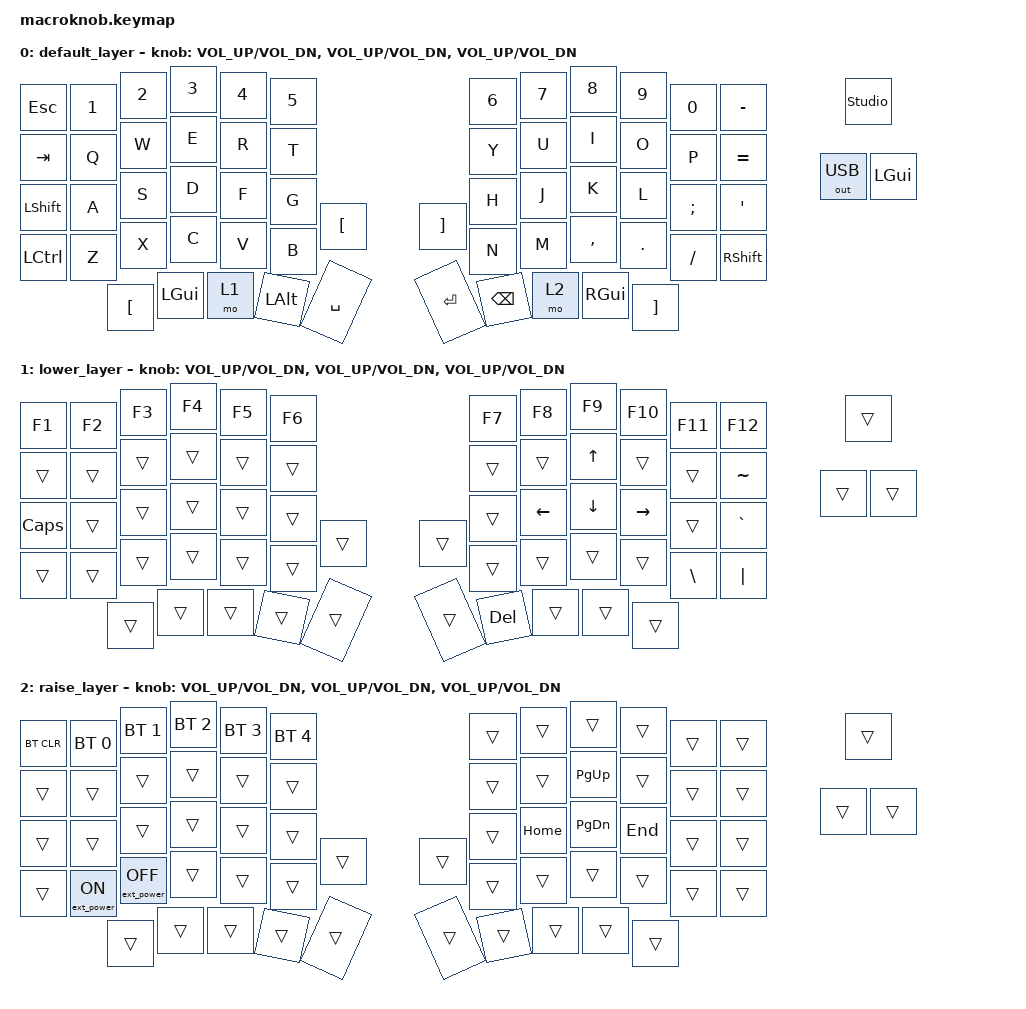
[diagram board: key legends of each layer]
/*
 * Copyright (c) 2022 The ZMK Contributors
 *
 * SPDX-License-Identifier: MIT
 */

//** Add any includes that are in your existing keyboard's keymap here that are missing
#include <behaviors.dtsi>
#include <dt-bindings/zmk/keys.h>
#include <dt-bindings/zmk/bt.h>
#include <dt-bindings/zmk/ext_power.h>
#include <dt-bindings/zmk/outputs.h>

                // |     Knob     |
                // | Left | Right |

// ============================================================
// STEP 4 applied — Aurora Sofle example
// ============================================================

/ {
    keymap {
        compatible = "zmk,keymap";

        default_layer {
            // (STEP 4b applied — Aurora Sofle default layer)
            bindings = <
                // Aurora Sofle keymap
&kp ESC   &kp N1 &kp N2 &kp N3   &kp N4   &kp N5                     &kp N6 &kp N7   &kp N8    &kp N9  &kp N0   &kp MINUS
&kp TAB   &kp Q  &kp W  &kp E    &kp R    &kp T                      &kp Y  &kp U    &kp I     &kp O   &kp P    &kp EQUAL
&kp LSHFT &kp A  &kp S  &kp D    &kp F    &kp G                      &kp H  &kp J    &kp K     &kp L   &kp SEMI &kp SQT
&kp LCTRL &kp Z  &kp X  &kp C    &kp V    &kp B  &kp LBKT   &kp RBKT &kp N  &kp M    &kp COMMA &kp DOT &kp FSLH &kp RSHFT
             &kp LBKT    &kp LGUI &mo 1   &kp LALT &kp SPACE  &kp RET  &kp BSPC  &mo 2  &kp RGUI &kp RBKT

                // Below is the MacroKnob's
                // On all layers, make sure the Macroknob's 3 keys are behind your existing's rows
&studio_unlock
&out OUT_USB  &kp LGUI
            >;

            sensor-bindings = <&inc_dec_kp C_VOL_UP C_VOL_DN  &inc_dec_kp C_VOL_UP C_VOL_DN  &inc_dec_kp C_VOL_UP C_VOL_DN>; // (STEP 4c applied — 3 encoders: left, right, macroknob)
        };

        lower_layer {
            // (STEP 4d applied — Aurora Sofle lower layer)
            bindings = <
                // Aurora Sofle keymap
&kp F1     &kp F2           &kp F3            &kp F4            &kp F5       &kp F6                       &kp F7    &kp F8    &kp F9       &kp F10   &kp F11   &kp F12
&trans     &trans           &trans            &trans            &trans       &trans                       &trans    &trans    &kp UP       &trans    &trans    &kp TILDE
&kp CAPS   &trans           &trans            &trans            &trans       &trans                       &trans    &kp LEFT  &kp DOWN     &kp RIGHT &trans    &kp GRAVE
&trans     &trans           &trans            &trans            &trans       &trans    &trans   &trans    &trans    &trans    &trans       &trans    &kp BSLH  &kp PIPE
                            &trans            &trans            &trans       &trans    &trans   &trans    &kp DEL   &trans    &trans       &trans

                // Below is the MacroKnob's
                // On all layers, make sure the Macroknob's 3 keys are behind your existing's rows
&trans
&trans  &trans
            >;

            sensor-bindings = <&inc_dec_kp C_VOL_UP C_VOL_DN  &inc_dec_kp C_VOL_UP C_VOL_DN  &inc_dec_kp C_VOL_UP C_VOL_DN>; // (STEP 4c applied — 3 encoders: left, right, macroknob)
        };

        raise_layer {
            // (STEP 4e applied — Aurora Sofle raise layer)
            bindings = <
                // Aurora Sofle keymap
&bt BT_CLR &bt BT_SEL 0  &bt BT_SEL 1  &bt BT_SEL 2  &bt BT_SEL 3   &bt BT_SEL 4   &trans      &trans    &trans    &trans   &trans    &trans
&trans     &trans        &trans        &trans        &trans          &trans          &trans      &trans    &kp PG_UP &trans   &trans    &trans
&trans     &trans        &trans        &trans        &trans          &trans          &trans      &kp HOME  &kp PG_DN &kp END  &trans    &trans
&trans     &ext_power EP_ON &ext_power EP_OFF &trans  &trans  &trans   &trans   &trans    &trans      &trans    &trans    &trans   &trans    &trans
                             &trans        &trans        &trans   &trans    &trans   &trans    &trans      &trans    &trans    &trans

                // Below is the MacroKnob's
                // On all layers, make sure the Macroknob's 3 keys are behind your existing's rows
&trans
&trans  &trans
            >;

            sensor-bindings = <&inc_dec_kp C_VOL_UP C_VOL_DN  &inc_dec_kp C_VOL_UP C_VOL_DN  &inc_dec_kp C_VOL_UP C_VOL_DN>; // (STEP 4c applied — 3 encoders: left, right, macroknob)
        };

        // Add any additional layers accordingly
    };
};
